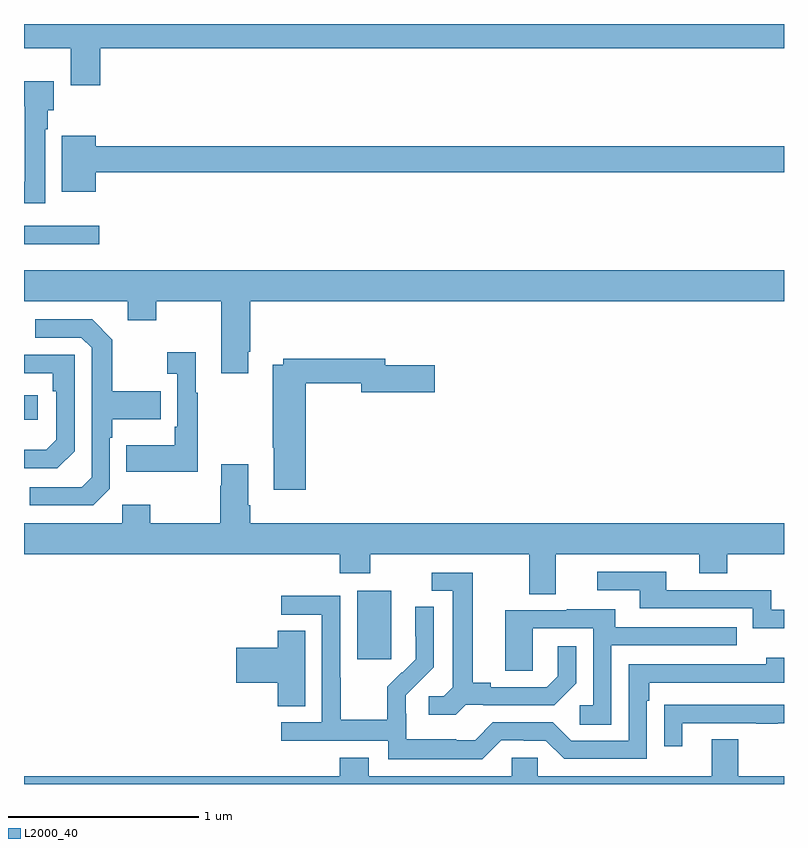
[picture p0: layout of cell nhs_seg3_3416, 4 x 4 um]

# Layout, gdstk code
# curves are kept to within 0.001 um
import gdstk
lib = gdstk.Library(unit=1e-6, precision=1e-09)
def R(c, l, rs):  # rectangles x0, y0, x1, y1
    for r in rs: c.add(gdstk.rectangle(r[:2], r[2:], *l))
def P(c, l, *ps):  # polygons
    for p in ps: c.add(gdstk.Polygon(p, *l))
L2000_40 = (2000, 40)

nhs_seg3_3416 = lib.new_cell('nhs_seg3_3416')
R(nhs_seg3_3416, L2000_40, [(290.753,675.057,290.932,675.418), (289,676.316,289.072,676.446), (289,677.24,289.396,677.337)])
P(nhs_seg3_3416, L2000_40, [(289.4,678.272),(293,678.272),(293,678.4),(289,678.4),(289,678.272),(289.247,678.272),(289.247,678.078),(289.4,678.078)],
  [(289.111,677.846),(289.126,677.846),(289.126,677.946),(289.156,677.946),(289.156,678.1),(289,678.1),(289,677.966),(289.004,677.966),(289.004,677.57),(289,677.57),(289,677.457),(289.111,677.457)],
  [(289.378,677.62),(293,677.62),(293,677.756),(289.378,677.756),(289.378,677.812),(289.199,677.812),(289.199,677.516),(289.378,677.516)],
  [(290.179,676.675),(290.192,676.675),(290.192,676.94),(293,676.94),(293,677.104),(289,677.104),(289,676.94),(289.547,676.94),(289.547,676.841),(289.695,676.841),(289.695,676.94),(290.039,676.94),(290.039,676.563),(290.179,676.563)],
  [(289.452,675.954),(289.452,676.223),(289.465,676.223),(289.465,676.319),(289.721,676.319),(289.721,676.467),(289.465,676.467),(289.465,676.739),(289.359,676.845),(289.059,676.845),(289.059,676.749),(289.302,676.749),(289.356,676.695),(289.356,676.014),(289.305,675.963),(289.029,675.963),(289.029,675.867),(289.365,675.867)],
  [(289.915,676.459),(289.903,676.459),(289.903,676.672),(289.755,676.672),(289.755,676.559),(289.806,676.559),(289.806,676.279),(289.794,676.279),(289.794,676.183),(289.537,676.183),(289.537,676.043),(289.915,676.043)],
  [(289.266,676.152),(289.266,676.659),(289,676.659),(289,676.563),(289.15,676.563),(289.15,676.466),(289.17,676.466),(289.17,676.212),(289.117,676.159),(289,676.159),(289,676.062),(289.176,676.062)],
  [(290.483,676.51),(290.774,676.51),(290.774,676.463),(291.163,676.463),(291.163,676.605),(290.902,676.605),(290.902,676.639),(290.364,676.639),(290.364,676.606),(290.308,676.606),(290.308,676.171),(290.315,676.171),(290.315,675.948),(290.483,675.948)],
  [(291.799,675.608),(292.553,675.608),(292.553,675.509),(292.701,675.509),(292.701,675.608),(293,675.608),(293,675.772),(290.192,675.772),(290.192,675.868),(290.179,675.868),(290.179,676.084),(290.039,676.084),(290.039,675.971),(290.032,675.971),(290.032,675.772),(289.665,675.772),(289.665,675.871),(289.518,675.871),(289.518,675.772),(289,675.772),(289,675.608),(290.663,675.608),(290.663,675.509),(290.823,675.509),(290.823,675.608),(291.659,675.608),(291.659,675.4),(291.799,675.4)],
  [(293,675.318),(292.932,675.318),(292.932,675.42),(292.381,675.42),(292.381,675.516),(292.017,675.516),(292.017,675.42),(292.241,675.42),(292.241,675.324),(292.836,675.324),(292.836,675.221),(293,675.221)],
  [(291.324,674.817),(291.418,674.817),(291.418,674.814),(291.79,674.814),(291.906,674.93),(291.906,675.124),(291.809,675.124),(291.809,674.967),(291.752,674.91),(291.457,674.91),(291.457,674.933),(291.361,674.933),(291.361,675.513),(291.147,675.513),(291.147,675.417),(291.257,675.417),(291.257,674.909),(291.21,674.862),(291.129,674.862),(291.129,674.765),(291.272,674.765)],
  [(291.513,674.631),(291.629,674.631),(291.629,674.628),(291.747,674.628),(291.843,674.532),(292.278,674.532),(292.278,674.837),(292.291,674.837),(292.291,674.934),(293,674.934),(293,675.064),(292.907,675.064),(292.907,675.03),(292.182,675.03),(292.182,674.628),(291.879,674.628),(291.783,674.724),(291.468,674.724),(291.375,674.631),(291.275,674.631),(291.275,674.635),(291.012,674.635),(291.012,674.769),(291.01,674.769),(291.01,674.866),(291.156,675.014),(291.156,675.332),(291.06,675.332),(291.06,675.178),(291.062,675.178),(291.062,675.056),(290.991,674.985),(290.988,674.988),(290.911,674.911),(290.911,674.737),(290.667,674.737),(290.667,674.96),(290.664,674.96),(290.664,675.39),(290.355,675.39),(290.355,675.291),(290.568,675.291),(290.568,674.724),(290.355,674.724),(290.355,674.628),(290.916,674.628),(290.916,674.531),(291.413,674.531)],
  [(292.092,675.129),(292.751,675.129),(292.751,675.225),(292.111,675.225),(292.111,675.319),(291.857,675.319),(291.857,675.315),(291.533,675.315),(291.533,674.995),(291.678,674.995),(291.678,675.219),(291.996,675.219),(291.996,674.814),(291.924,674.814),(291.924,674.713),(292.092,674.713)],
  [(290.479,675.206),(290.336,675.206),(290.336,675.116),(290.118,675.116),(290.118,674.933),(290.336,674.933),(290.336,674.809),(290.479,674.809)],
  [(292.465,674.721),(292.855,674.721),(292.855,674.716),(292.967,674.716),(292.967,674.721),(293,674.721),(293,674.817),(292.471,674.817),(292.471,674.816),(292.369,674.816),(292.369,674.598),(292.465,674.598)],
  [(293,674.44),(292.759,674.44),(292.759,674.635),(292.619,674.635),(292.619,674.44),(291.705,674.44),(291.705,674.538),(291.567,674.538),(291.567,674.44),(290.815,674.44),(290.815,674.539),(290.663,674.539),(290.663,674.44),(289,674.44),(289,674.4),(293,674.4)])

lib.write_gds('nhs_seg3_3416.gds')
